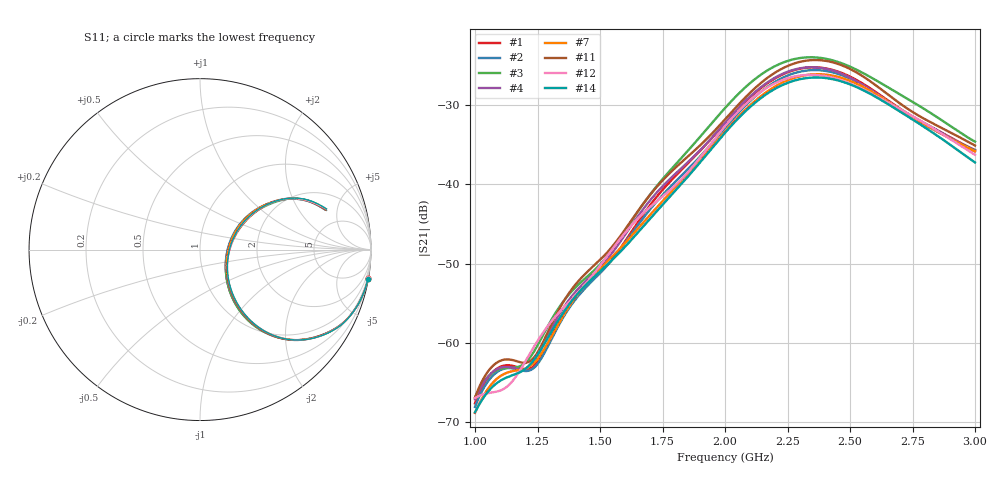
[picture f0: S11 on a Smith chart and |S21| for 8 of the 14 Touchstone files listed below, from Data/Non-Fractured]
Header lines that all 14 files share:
! TOUCHSTONE file generated by CST MICROWAVE STUDIO
! Project name: non_fractured.cst
! Header version: 2024
! Port assignment regex: !\s*Touchstone port\s*([0-9]+)\s*=\s*(CST MWS port|CST DES external port|CST DES block port)\s*(.+)\s* \(\"(.*)\"\)(\s*mode\s*([0-9]+))?.*
! Touchstone port assignment:
! Touchstone port 1 = CST MWS port 1 ("")
! Touchstone port 2 = CST MWS port 2 ("")
# GHz S DB R 50
Fixed: B = 2.5, D = 160, Feed = 2.85625, L = 100, M = 5, R = 0.384908, length = 57.125, wave = 114.25
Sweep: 1 GHz to 3 GHz
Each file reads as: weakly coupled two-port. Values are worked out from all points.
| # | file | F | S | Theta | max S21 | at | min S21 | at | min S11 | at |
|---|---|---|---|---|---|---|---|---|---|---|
| 1 | non_fractured_41.s2p | 15 | 2 | 0 | -25.21 dB | 2.353 GHz | -67.7 dB | 1 GHz | -16.1 dB | 2.38 GHz |
| 2 | non_fractured_45.s2p | 15 | 2.5 | 0 | -25.56 dB | 2.362 GHz | -68.1 dB | 1 GHz | -16.1 dB | 2.382 GHz |
| 3 | non_fractured_49.s2p | 20 | 1 | 0 | -23.94 dB | 2.342 GHz | -66.9 dB | 1 GHz | -15.9 dB | 2.368 GHz |
| 4 | non_fractured_53.s2p | 20 | 1.5 | 0 | -25.21 dB | 2.347 GHz | -67.1 dB | 1 GHz | -15.8 dB | 2.38 GHz |
| 5 | non_fractured_57.s2p | 20 | 2 | 0 | -25.92 dB | 2.36 GHz | -68.0 dB | 1 GHz | -15.8 dB | 2.386 GHz |
| 6 | non_fractured_59.s2p | 20 | 2 | 180 | -25.92 dB | 2.36 GHz | -68.0 dB | 1 GHz | -15.8 dB | 2.386 GHz |
| 7 | non_fractured_61.s2p | 20 | 2.5 | 0 | -26.08 dB | 2.373 GHz | -68.9 dB | 1 GHz | -15.8 dB | 2.386 GHz |
| 8 | non_fractured_62.s2p | 20 | 2.5 | 90 | -26.08 dB | 2.373 GHz | -68.9 dB | 1 GHz | -15.8 dB | 2.386 GHz |
| 9 | non_fractured_63.s2p | 20 | 2.5 | 180 | -26.08 dB | 2.373 GHz | -68.9 dB | 1 GHz | -15.8 dB | 2.386 GHz |
| 10 | non_fractured_64.s2p | 20 | 2.5 | 270 | -26.08 dB | 2.373 GHz | -68.9 dB | 1 GHz | -15.8 dB | 2.386 GHz |
| 11 | non_fractured_65.s2p | 25 | 1 | 0 | -24.29 dB | 2.36 GHz | -66.9 dB | 1 GHz | -15.4 dB | 2.38 GHz |
| 12 | non_fractured_69.s2p | 25 | 1.5 | 0 | -26.16 dB | 2.34 GHz | -67.0 dB | 1 GHz | -15.4 dB | 2.38 GHz |
| 13 | non_fractured_73.s2p | 25 | 2 | 0 | -26.53 dB | 2.366 GHz | -68.5 dB | 1 GHz | -15.4 dB | 2.386 GHz |
| 14 | non_fractured_77.s2p | 25 | 2.5 | 0 | -26.50 dB | 2.362 GHz | -68.8 dB | 1 GHz | -15.5 dB | 2.375 GHz |
